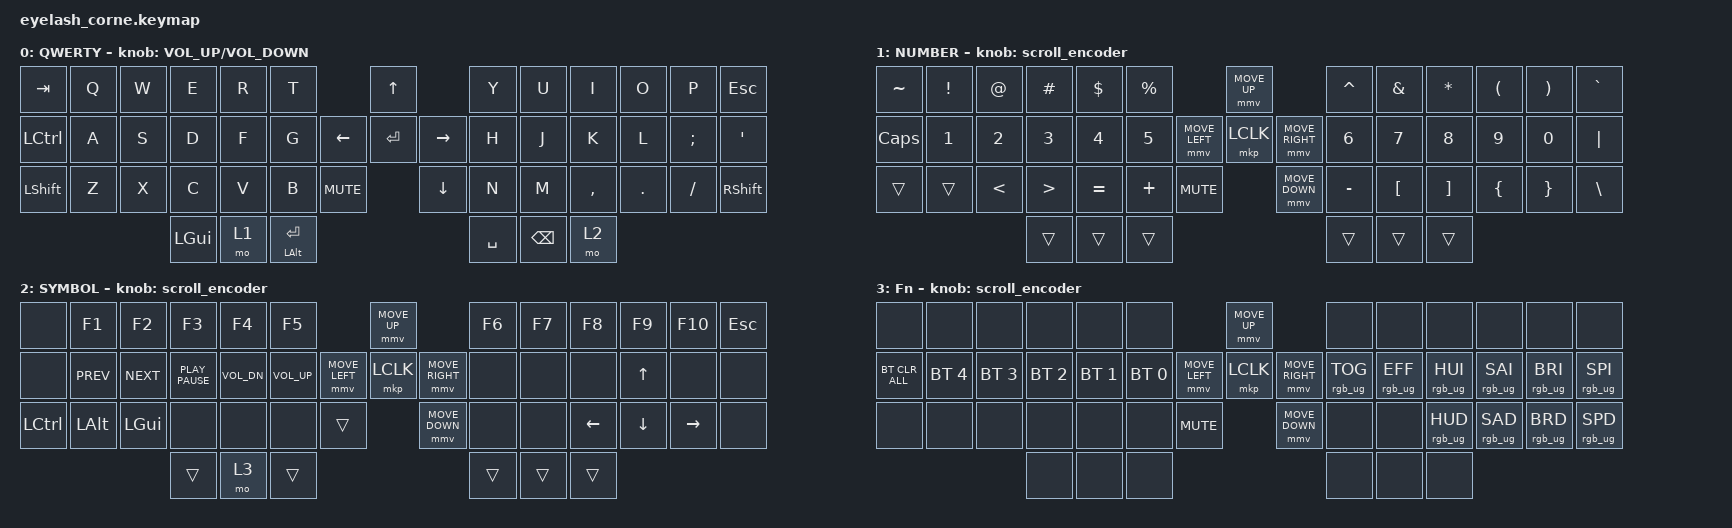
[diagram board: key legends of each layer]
#define ZMK_POINTING_DEFAULT_MOVE_VAL 1200  // 600
#define ZMK_POINTING_DEFAULT_SCRL_VAL 25   // 10

#include <input/processors.dtsi>
#include <zephyr/dt-bindings/input/input-event-codes.h>
#include <behaviors.dtsi>
#include <dt-bindings/zmk/bt.h>
#include <dt-bindings/zmk/keys.h>
#include <dt-bindings/zmk/pointing.h>
#include <dt-bindings/zmk/rgb.h>

&mmv_input_listener { input-processors = <&zip_xy_scaler 2 1>; };

&msc_input_listener { input-processors = <&zip_scroll_scaler 2 1>; };

&msc {
    acceleration-exponent = <1>;      // 0
    time-to-max-speed-ms = <100>;       // 300
    delay-ms = <0>;                   // 0
};

&mmv {
    time-to-max-speed-ms = <500>;
    acceleration-exponent = <1>;
    trigger-period-ms = <16>;
};

/ {
    behaviors {
        td0: td0 {
            compatible = "zmk,behavior-tap-dance";
            display-name = "Shift/Caps Lock Tap Dance";
            #binding-cells = <0>;
            bindings = <&kp LEFT_SHIFT>, <&kp CAPS>;
        };
    };

    rgb_encoder: rgb_encoder {
        compatible = "zmk,behavior-sensor-rotate";
        #sensor-binding-cells = <0>;
        bindings = <&rgb_ug RGB_BRI>, <&rgb_ug RGB_BRD>;
    };

    scroll_encoder: scroll_encoder {
        compatible = "zmk,behavior-sensor-rotate";
        #sensor-binding-cells = <0>;
        bindings = <&msc SCRL_DOWN>, <&msc SCRL_UP>;

        tap-ms = <100>;
    };

    keymap {
        compatible = "zmk,keymap";

        default_layer {
            display-name = "QWERTY";
            bindings = <
&kp TAB         &kp Q  &kp W  &kp E     &kp R  &kp T                                       &kp UP                &kp Y      &kp U          &kp I      &kp O    &kp P     &kp ESCAPE
&kp LCTRL       &kp A  &kp S  &kp D     &kp F  &kp G                             &kp LEFT  &kp ENTER  &kp RIGHT  &kp H      &kp J          &kp K      &kp L    &kp SEMI  &kp SQT
&kp LEFT_SHIFT  &kp Z  &kp X  &kp C     &kp V  &kp B               &kp K_MUTE              &kp DOWN              &kp N      &kp M          &kp COMMA  &kp DOT  &kp FSLH  &kp RIGHT_SHIFT
                              &kp LGUI  &mo 1  &mt LEFT_ALT ENTER                                                &kp SPACE  &kp BACKSPACE  &mo 2
            >;

            sensor-bindings = <&inc_dec_kp C_VOLUME_UP C_VOLUME_DOWN>;
        };

        lower_layer {
            display-name = "NUMBER";
            bindings = <
&kp TILDE  &kp EXCL  &kp AT         &kp POUND         &kp DOLLAR  &kp PERCENT                                &mmv MOVE_UP                     &kp CARET  &kp AMPS  &kp ASTRK  &kp LEFT_PARENTHESIS  &kp RIGHT_PARENTHESIS  &kp GRAVE
&kp CAPS   &kp N1    &kp N2         &kp N3            &kp N4      &kp N5                     &mmv MOVE_LEFT  &mkp LCLK       &mmv MOVE_RIGHT  &kp N6     &kp N7    &kp N8     &kp N9                &kp N0                 &kp PIPE
&trans     &trans    &kp LESS_THAN  &kp GREATER_THAN  &kp EQUAL   &kp PLUS     &kp C_MUTE                    &mmv MOVE_DOWN                   &kp MINUS  &kp LBKT  &kp RBKT   &kp LEFT_BRACE        &kp RIGHT_BRACE        &kp BSLH
                                    &trans            &trans      &trans                                                                      &trans     &trans    &trans
            >;

            sensor-bindings = <&scroll_encoder>;
        };

        raise_layer {
            display-name = "SYMBOL";
            bindings = <
&none             &kp F1        &kp F2        &kp F3            &kp F4        &kp F5                                     &mmv MOVE_UP                     &kp F6  &kp F7  &kp F8    &kp F9    &kp F10    &kp ESCAPE
&none             &kp K_PREV    &kp K_NEXT    &kp K_PLAY_PAUSE  &kp C_VOL_DN  &kp C_VOLUME_UP            &mmv MOVE_LEFT  &mkp LCLK       &mmv MOVE_RIGHT  &none   &none   &none     &kp UP    &none      &none
&kp LEFT_CONTROL  &kp LEFT_ALT  &kp LEFT_GUI  &none             &none         &none            &trans                    &mmv MOVE_DOWN                   &none   &none   &kp LEFT  &kp DOWN  &kp RIGHT  &none
                                              &trans            &mo 3         &trans                                                                      &trans  &trans  &trans
            >;

            sensor-bindings = <&scroll_encoder>;
        };

        layer_3 {
            display-name = "Fn";
            bindings = <
&none           &none         &none         &none         &none         &none                                       &mmv MOVE_UP                     &none            &none            &none            &none            &none            &none
&bt BT_CLR_ALL  &bt BT_SEL 4  &bt BT_SEL 3  &bt BT_SEL 2  &bt BT_SEL 1  &bt BT_SEL 0                &mmv MOVE_LEFT  &mkp LCLK       &mmv MOVE_RIGHT  &rgb_ug RGB_TOG  &rgb_ug RGB_EFF  &rgb_ug RGB_HUI  &rgb_ug RGB_SAI  &rgb_ug RGB_BRI  &rgb_ug RGB_SPI
&none           &none         &none         &none         &none         &none         &kp C_MUTE                    &mmv MOVE_DOWN                   &none            &none            &rgb_ug RGB_HUD  &rgb_ug RGB_SAD  &rgb_ug RGB_BRD  &rgb_ug RGB_SPD
                                            &none         &none         &none                                                                        &none            &none            &none
            >;

            sensor-bindings = <&scroll_encoder>;
        };
    };
};
